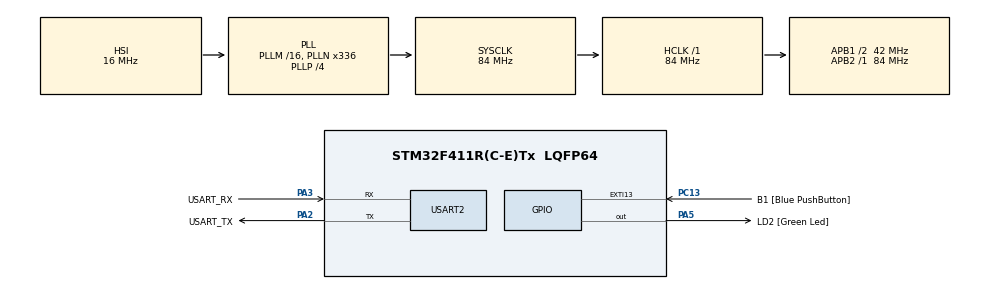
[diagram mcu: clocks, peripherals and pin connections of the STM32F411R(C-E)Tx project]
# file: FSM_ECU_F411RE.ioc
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FREERTOS.Tasks01=defaultTask,24,128,StartDefaultTask,Default,NULL,Dynamic,NULL,NULL
Mcu.Family=STM32F4
Mcu.Name=STM32F411R(C-E)Tx
Mcu.Package=LQFP64
NVIC.EXTI15_10_IRQn=true\:5\:0\:false\:false\:true\:true\:true\:true\:true
NVIC.PriorityGroup=NVIC_PRIORITYGROUP_4
NVIC.USART2_IRQn=true\:5\:0\:false\:false\:true\:true\:true\:true\:true
PA13.GPIO_Label=TMS
PA13.Mode=Serial_Wire
PA13.Signal=SYS_JTMS-SWDIO
PA14.GPIO_Label=TCK
PA14.Mode=Serial_Wire
PA14.Signal=SYS_JTCK-SWCLK
PA2.GPIO_Label=USART_TX
PA2.Mode=Asynchronous
PA2.Signal=USART2_TX
PA3.GPIO_Label=USART_RX
PA3.Mode=Asynchronous
PA3.Signal=USART2_RX
PA5.GPIO_Label=LD2 [Green Led]
PA5.Signal=GPIO_Output
PB3.GPIO_Label=SWO
PB3.Signal=SYS_JTDO-SWO
PC13-ANTI_TAMP.GPIO_Label=B1 [Blue PushButton]
PC13-ANTI_TAMP.GPIO_ModeDefaultEXTI=GPIO_MODE_IT_FALLING
PC13-ANTI_TAMP.Signal=GPXTI13
PC14-OSC32_IN.Mode=LSE-External-Oscillator
PC14-OSC32_IN.Signal=RCC_OSC32_IN
PC15-OSC32_OUT.Mode=LSE-External-Oscillator
PC15-OSC32_OUT.Signal=RCC_OSC32_OUT
PH0\ -\ OSC_IN.Mode=HSE-External-Clock-Source
PH0\ -\ OSC_IN.Signal=RCC_OSC_IN
PH1\ -\ OSC_OUT.Mode=HSE-External-Clock-Source
PH1\ -\ OSC_OUT.Signal=RCC_OSC_OUT
ProjectManager.HeapSize=0x200
ProjectManager.StackSize=0x400
ProjectManager.TargetToolchain=STM32CubeIDE
RCC.48MHZClocksFreq_Value=84000000
RCC.AHBFreq_Value=84000000
RCC.APB1CLKDivider=RCC_HCLK_DIV2
RCC.APB1Freq_Value=42000000
RCC.APB1TimFreq_Value=84000000
RCC.APB2Freq_Value=84000000
RCC.APB2TimFreq_Value=84000000
RCC.CortexFreq_Value=84000000
RCC.FLatency-AdvancedSettings=FLASH_LATENCY_2
RCC.HCLKFreq_Value=84000000
RCC.HSE_VALUE=8000000
RCC.HSI_VALUE=16000000
RCC.PLLN=336
RCC.PLLP=RCC_PLLP_DIV4
RCC.SYSCLKFreq_VALUE=84000000
RCC.SYSCLKSource=RCC_SYSCLKSOURCE_PLLCLK
RCC.VCOOutputFreq_Value=336000000
USART2.VirtualMode=VM_ASYNC
VP_FREERTOS_VS_CMSIS_V2.Mode=CMSIS_V2
board=NUCLEO-F411RE

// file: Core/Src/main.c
/* USER CODE BEGIN Header */
/**
  ******************************************************************************
  * @file           : main.c
  * @brief          : Main program body
  ******************************************************************************
  * @attention
  *
  * Copyright (c) 2025 STMicroelectronics.
  * All rights reserved.
  *
  * This software is licensed under terms that can be found in the LICENSE file
  * in the root directory of this software component.
  * If no LICENSE file comes with this software, it is provided AS-IS.
  *
  ******************************************************************************
  */
/* USER CODE END Header */
#include "main.h"
#include "cmsis_os.h"
#include "usart.h"
#include "gpio.h"
#include <string.h>   // for strcmp, strlen, strcpy, etc.

#include "fsm.h"
#include "stm32f4xx_hal.h"
#include "FreeRTOS.h"
#include "task.h"

void SystemClock_Config(void);
void MX_FREERTOS_Init(void);

uint8_t uart_rx_byte;
int main(void)
{

  /* MCU Configuration--------------------------------------------------------*/

  /* Reset of all peripherals, Initializes the Flash interface and the Systick. */
  HAL_Init();

  /* Configure the system clock */
  SystemClock_Config();

  /* Initialize all configured peripherals */
  MX_GPIO_Init();
  MX_USART2_UART_Init();

  /* USER CODE BEGIN 2 */

  /* USER CODE BEGIN 2 */
  HAL_UART_Receive_IT(&huart2, &uart_rx_byte, 1);  // if using UART command parsing
  FSM_Init();  // create queue + task
  /* then start scheduler */
  vTaskStartScheduler();
  /* USER CODE END 2 */

  /* USER CODE END 2 */

  /* Init scheduler */
  osKernelInitialize();  /* Call init function for freertos objects (in cmsis_os2.c) */
  MX_FREERTOS_Init();

  /* Start scheduler */
  osKernelStart();

  /* We should never get here as control is now taken by the scheduler */

  /* Infinite loop */
  while (1)
  {

  }
}

void SystemClock_Config(void)
{
  RCC_OscInitTypeDef RCC_OscInitStruct = {0};
  RCC_ClkInitTypeDef RCC_ClkInitStruct = {0};

  /** Configure the main internal regulator output voltage
  */
  __HAL_RCC_PWR_CLK_ENABLE();
  __HAL_PWR_VOLTAGESCALING_CONFIG(PWR_REGULATOR_VOLTAGE_SCALE1);

  /** Initializes the RCC Oscillators according to the specified parameters
  * in the RCC_OscInitTypeDef structure.
  */
  RCC_OscInitStruct.OscillatorType = RCC_OSCILLATORTYPE_HSI;
  RCC_OscInitStruct.HSIState = RCC_HSI_ON;
  RCC_OscInitStruct.HSICalibrationValue = RCC_HSICALIBRATION_DEFAULT;
  RCC_OscInitStruct.PLL.PLLState = RCC_PLL_ON;
  RCC_OscInitStruct.PLL.PLLSource = RCC_PLLSOURCE_HSI;
  RCC_OscInitStruct.PLL.PLLM = 16;
  RCC_OscInitStruct.PLL.PLLN = 336;
  RCC_OscInitStruct.PLL.PLLP = RCC_PLLP_DIV4;
  RCC_OscInitStruct.PLL.PLLQ = 4;
  if (HAL_RCC_OscConfig(&RCC_OscInitStruct) != HAL_OK)
  {
    Error_Handler();
  }

  /** Initializes the CPU, AHB and APB buses clocks
  */
  RCC_ClkInitStruct.ClockType = RCC_CLOCKTYPE_HCLK|RCC_CLOCKTYPE_SYSCLK
                              |RCC_CLOCKTYPE_PCLK1|RCC_CLOCKTYPE_PCLK2;
  RCC_ClkInitStruct.SYSCLKSource = RCC_SYSCLKSOURCE_PLLCLK;
  RCC_ClkInitStruct.AHBCLKDivider = RCC_SYSCLK_DIV1;
  RCC_ClkInitStruct.APB1CLKDivider = RCC_HCLK_DIV2;
  RCC_ClkInitStruct.APB2CLKDivider = RCC_HCLK_DIV1;

  if (HAL_RCC_ClockConfig(&RCC_ClkInitStruct, FLASH_LATENCY_2) != HAL_OK)
  {
    Error_Handler();
  }
}

/* USER CODE BEGIN 4 */
void HAL_GPIO_EXTI_Callback(uint16_t GPIO_Pin)
{
    BaseType_t xHigherPriorityTaskWoken = pdFALSE;
    if (GPIO_Pin == B1_Pin) {
        SystemEvent_t ev = EVENT_BTN_PRESSED;
        xQueueSendFromISR(xEventQueue, &ev, &xHigherPriorityTaskWoken);
        portYIELD_FROM_ISR(xHigherPriorityTaskWoken);
    }
}

void HAL_UART_RxCpltCallback(UART_HandleTypeDef *huart)
{
    BaseType_t xHigherPriorityTaskWoken = pdFALSE;
    static char cmd[32];
    static uint8_t idx = 0;

    if (huart->Instance == USART2) {
        if (uart_rx_byte == '\n' || uart_rx_byte == '\r') {
            cmd[idx] = '\0';

            if (strcmp(cmd, "start") == 0) {
                SystemEvent_t e = EVENT_DRIVING_STARTED;
                xQueueSendFromISR(xEventQueue, &e, &xHigherPriorityTaskWoken);
            } else if (strcmp(cmd, "stop") == 0) {
                SystemEvent_t e = EVENT_STOP;
                xQueueSendFromISR(xEventQueue, &e, &xHigherPriorityTaskWoken);
            } else if (strcmp(cmd, "done") == 0) {
                SystemEvent_t e = EVENT_MOTION_COMPLETED;
                xQueueSendFromISR(xEventQueue, &e, &xHigherPriorityTaskWoken);
            } else if (strcmp(cmd, "fault") == 0) {
                SystemEvent_t e = EVENT_FLT_DETECTED;
                xQueueSendFromISR(xEventQueue, &e, &xHigherPriorityTaskWoken);
            } else if (strcmp(cmd, "reset") == 0) {
                SystemEvent_t e = EVENT_RESET;
                xQueueSendFromISR(xEventQueue, &e, &xHigherPriorityTaskWoken);
            } else if (strcmp(cmd, "perm") == 0) {
                SystemEvent_t e = EVENT_PERM_ERROR;
                xQueueSendFromISR(xEventQueue, &e, &xHigherPriorityTaskWoken);
            }

            idx = 0; // reset buffer
        } else {
            if (idx < sizeof(cmd) - 1) cmd[idx++] = (char)uart_rx_byte;
        }

        portYIELD_FROM_ISR(xHigherPriorityTaskWoken);
        HAL_UART_Receive_IT(&huart2, &uart_rx_byte, 1); // restart RX
    }
}
/* USER CODE END 4 */

void Error_Handler(void)
{
  __disable_irq();
  while (1)
  {
  }
}
